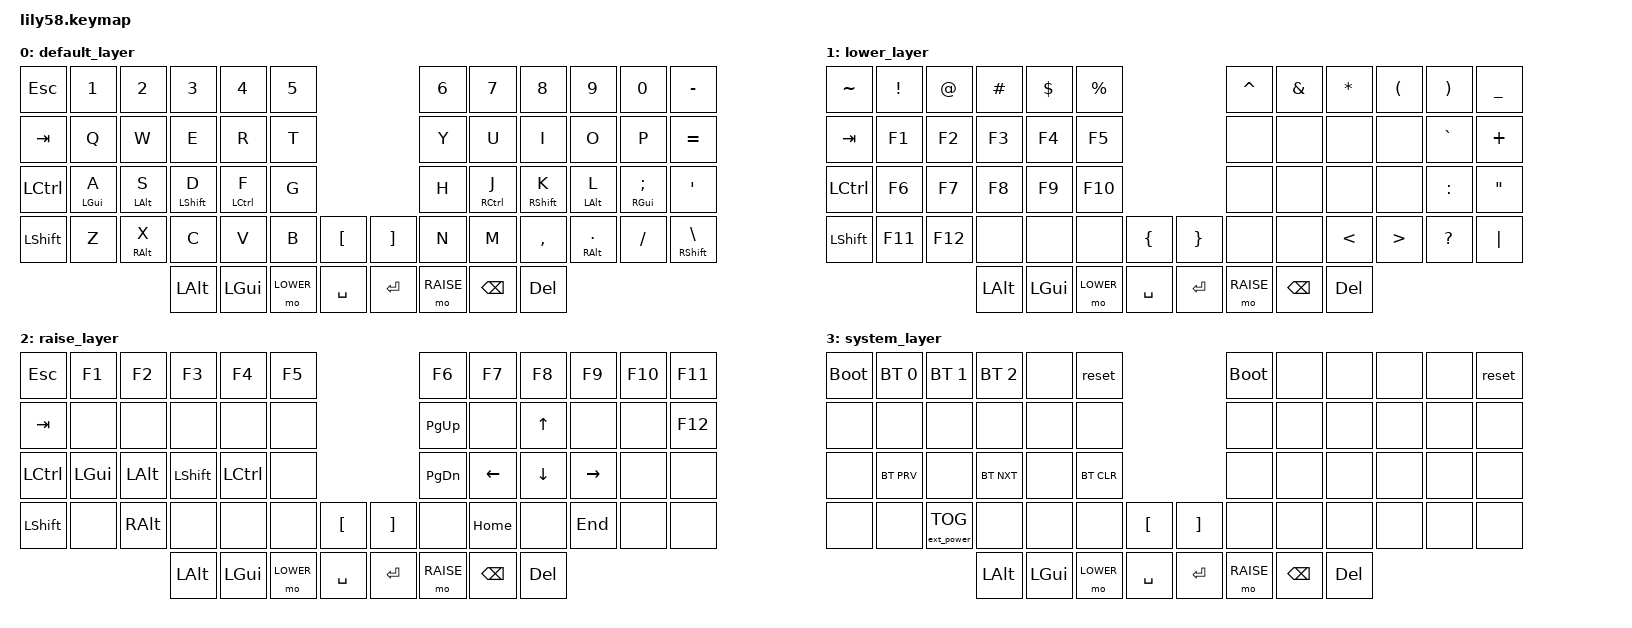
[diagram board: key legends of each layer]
/*
 * Copyright (c) 2020 The ZMK Contributors
 *
 * SPDX-License-Identifier: MIT
 */

#include <behaviors.dtsi>
#include <dt-bindings/zmk/keys.h>
#include <dt-bindings/zmk/bt.h>
#include <dt-bindings/zmk/ext_power.h>

#define QWERTY 0
#define LOWER  1
#define RAISE  2
#define SYSTEM 2

&mt {
    flavor = "tap-preferred";
    tapping_term_ms = <200>;
};

/ {
    behaviors {
        hm: homerow_mods {
            compatible = "zmk,behavior-hold-tap";
            label = "HOMEROW_MODS";
            #binding-cells = <2>;
            tapping-term-ms = <200>;
            quick-tap-ms = <0>;
            flavor = "tap-preferred";
            bindings = <&kp>, <&kp>;
        };
        // G A S C      C S A G
        //   A              A
    };
    conditional_layers {
        compatible = "zmk,conditional-layers";
        tri_layer {
            if-layers = <LOWER RAISE>;
            then-layer = <SYSTEM>;
        };
    };
	keymap {
		compatible = "zmk,keymap";
		default_layer {
            // --------------------------------------------------------------------------------------------------------------------
            // |  Esc  |   1   |   2   |   3   |   4   |   5   |                   |   6   |   7   |   8   |   9   |   0   |   -   |
            // |  Tab  |   Q   |   W   |   E   |   R   |   T   |                   |   Y   |   U   |   I   |   O   |   P   |   =   |
            // | LCtrl |   A   |   S   |   D   |   F   |   G   |                   |   H   |   J   |   K   |   L   |   ;   |   '   |
            // | LShft |   Z   |   X   |   C   |   V   |   B   |   [   |   |   ]   |   N   |   M   |   ,   |   .   |   /   | \ Shft|
            //                         |  LALT | LGUI  | LOWER |  SPC  |   |  ENT  | RAISE | BKSPC |  DEL  |
			bindings = <
                &kp ESC   &kp N1     &kp N2     &kp N3      &kp N4      &kp N5                         &kp N6    &kp N7      &kp N8      &kp N9       &kp N0        &kp MINUS
                &kp TAB   &kp Q      &kp W      &kp E       &kp R       &kp T                          &kp Y     &kp U       &kp I       &kp O        &kp P         &kp EQUAL
                &kp LCTRL &hm LGUI A &hm LALT S &hm LSHFT D &hm LCTRL F &kp G                          &kp H     &hm RCTRL J &hm RSHFT K &hm LALT L   &hm RGUI SEMI &kp SQT
                &kp LSHFT &kp Z      &hm RALT X &kp C       &kp V       &kp B     &kp LBKT    &kp RBKT &kp N     &kp M       &kp COMMA   &hm RALT DOT &kp FSLH      &mt RSHFT BSLH
                                                &kp LALT    &kp LGUI    &mo LOWER &kp SPACE   &kp RET  &mo RAISE &kp BSPC    &kp DEL
			>;
		};
		lower_layer {
            // --------------------------------------------------------------------------------------------------------------------
            // |   ~   |   !   |   @   |   #   |   $   |   %   |                   |   ^   |   &   |   *   |   (   |   )   |   _   |
            // |  Tab  |   F1  |   F2  |   F3  |   F4  |   F5  |                   |       |       |       |       |   `   |   +   |
            // | LCtrl |   F6  |   F7  |   F8  |   F9  |   F10 |                   |       |       |       |       |   :   |   "   |
            // | LShft |   F11 |   F12 |       |       |       |   {   |   |   }   |       |       |   <   |   >   |   ?   |   |   |
            //                         |  LALT | LGUI  | QWERTY|  SPC  |   |  ENT  |  SYS  | BKSPC |  DEL  |
			bindings = <
                &kp TILDE &kp EXCL &kp AT  &kp HASH &kp DOLLAR &kp PERCENT                     &kp CARET &kp AMPS &kp STAR &kp LPAR &kp RPAR  &kp UNDER
                &kp TAB   &kp F1   &kp F2  &kp F3   &kp F4     &kp F5                          &none     &none    &none    &none    &kp GRAVE &kp PLUS
                &kp LCTRL &kp F6   &kp F7  &kp F8   &kp F9     &kp F10                         &none     &none    &none    &none    &kp COLON &kp DQT
                &kp LSHFT &kp F11  &kp F12 &none    &none      &none     &kp LBRC    &kp RBRC  &none     &none    &kp LT   &kp GT   &kp QMARK &kp PIPE
                                           &kp LALT &kp LGUI   &mo LOWER &kp SPACE   &kp RET   &mo RAISE &kp BSPC &kp DEL
			>;
		};
		raise_layer {
            // --------------------------------------------------------------------------------------------------------------------
            // |  Esc  |   F1  |   F2  |   F3  |   F4  |   F5  |                   |   F6  |   F7  |   F8  |   F9  |  F10  |  F11  |
            // |  Tab  |       |       |       |       |       |                   |  PgUp |       |   Up  |       |       |  F12  |
            // | LCtrl | LGUI  | LALT  | LShft | LCtrl |       |                   |  PgDn | Left  |  Down | Right |       |       |
            // | LShft |       | RALT  |       |       |       |   [   |   |   ]   |       | Home  |       |  End  |       |       |
            //                         |  LALT | LGUI  | LOWER |  SPC  |   |  ENT  | RAISE | BKSPC |  DEL  |
            bindings = <
                &kp ESC   &kp F1   &kp F2   &kp F3    &kp F4    &kp F5                          &kp F6     &kp F7   &kp F8   &kp F9    &kp F10 &kp F11
                &kp TAB   &none    &none    &none     &none     &none                           &kp PG_UP  &none    &kp UP   &none     &none   &kp F12
                &kp LCTRL &kp LGUI &kp LALT &kp LSHFT &kp LCTRL &none                           &kp PG_DN  &kp LEFT &kp DOWN &kp RIGHT &none   &none
                &kp LSHFT &none    &kp RALT &none     &none     &none     &kp LBKT    &kp RBKT  &none      &kp HOME &none    &kp END   &none   &none
                                            &kp LALT  &kp LGUI  &mo LOWER &kp SPACE   &kp ENTER &mo RAISE  &kp BSPC &kp DEL
            >;
		};
        system_layer {
            // --------------------------------------------------------------------------------------------------------------------
            // | BOOTL | BT_0  | BT_1  | BT_2  |       | RESET |                   | BOOTL |       |       |       |       | RESET |
            // |       |       |       |       |       |       |                   |       |       |       |       |       |       |
            // |       | BT_PRV|       | BT_NXT|       | BT_CLR|                   |       |       |       |       |       |       |
            // |       |       |EP_TOGG|       |       |       |   [   |   |   ]   |       |       |       |       |       |       |
            //                         |  LALT | LGUI  | LOWER |  SPC  |   |  ENT  | RAISE | BKSPC |  DEL  |
            bindings = <
                &bootloader &bt BT_SEL 0 &bt BT_SEL 1      &bt BT_SEL 2 &none     &reset                           &bootloader &none    &none &none &none &reset
                &none       &none        &none             &none        &none     &none                            &none       &none    &none &none &none &none
                &none       &bt BT_PRV   &none             &bt BT_NXT   &none     &bt BT_CLR                       &none       &none    &none &none &none &none
                &none       &none        &ext_power EP_TOG &none        &none     &none      &kp LBKT    &kp RBKT  &none       &none    &none &none &none &none
                                                           &kp LALT     &kp LGUI  &mo LOWER  &kp SPACE   &kp ENTER &mo RAISE   &kp BSPC &kp DEL
            >;
        };
	};
};
